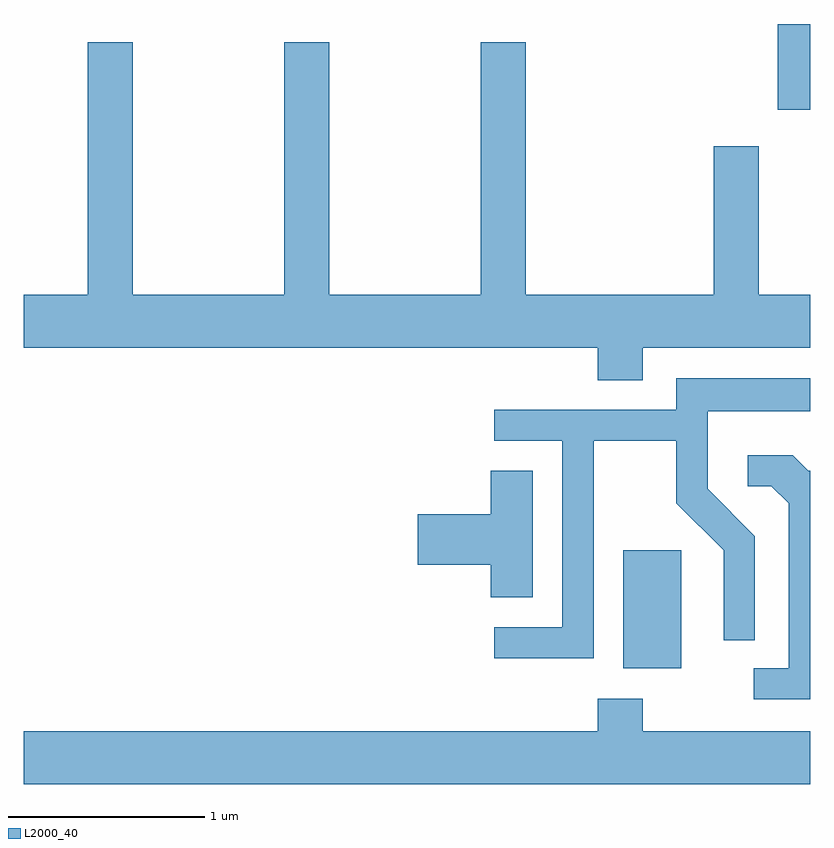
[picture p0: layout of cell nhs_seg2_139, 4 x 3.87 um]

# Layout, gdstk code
import gdstk
lib = gdstk.Library(unit=1e-6, precision=1e-09)
def R(c, l, rs):  # rectangles x0, y0, x1, y1
    for r in rs: c.add(gdstk.rectangle(r[:2], r[2:], *l))
def P(c, l, *ps):  # polygons
    for p in ps: c.add(gdstk.Polygon(p, *l))
L2000_40 = (2000, 40)

nhs_seg2_139 = lib.new_cell('nhs_seg2_139')
R(nhs_seg2_139, L2000_40, [(192.661,984.526,192.954,985.124), (193.446,987.366,193.611,987.802)])
P(nhs_seg2_139, L2000_40, [(192.759,986.156),(193.611,986.156),(193.611,986.424),(193.349,986.424),(193.349,987.179),(193.121,987.179),(193.121,986.424),(192.164,986.424),(192.164,987.709),(191.936,987.709),(191.936,986.424),(191.164,986.424),(191.164,987.709),(190.936,987.709),(190.936,986.424),(190.164,986.424),(190.164,987.709),(189.936,987.709),(189.936,986.424),(189.611,986.424),(189.611,986.156),(192.531,986.156),(192.531,985.991),(192.759,985.991)],
  [(192.509,985.681),(192.931,985.681),(192.931,985.364),(193.171,985.124),(193.171,984.668),(193.329,984.668),(193.329,985.197),(193.089,985.437),(193.089,985.831),(193.611,985.831),(193.611,985.999),(192.931,985.999),(192.931,985.839),(192.003,985.839),(192.003,985.681),(192.351,985.681),(192.351,984.734),(192.003,984.734),(192.003,984.576),(192.509,984.576)],
  [(193.611,985.529),(193.602,985.529),(193.522,985.609),(193.293,985.609),(193.293,985.451),(193.414,985.451),(193.501,985.364),(193.501,984.524),(193.323,984.524),(193.323,984.366),(193.611,984.366)],
  [(192.199,985.529),(191.986,985.529),(191.986,985.309),(191.616,985.309),(191.616,985.051),(191.986,985.051),(191.986,984.886),(192.199,984.886)],
  [(193.611,984.204),(192.759,984.204),(192.759,984.369),(192.531,984.369),(192.531,984.204),(189.611,984.204),(189.611,983.936),(193.611,983.936)])

lib.write_gds('nhs_seg2_139.gds')
